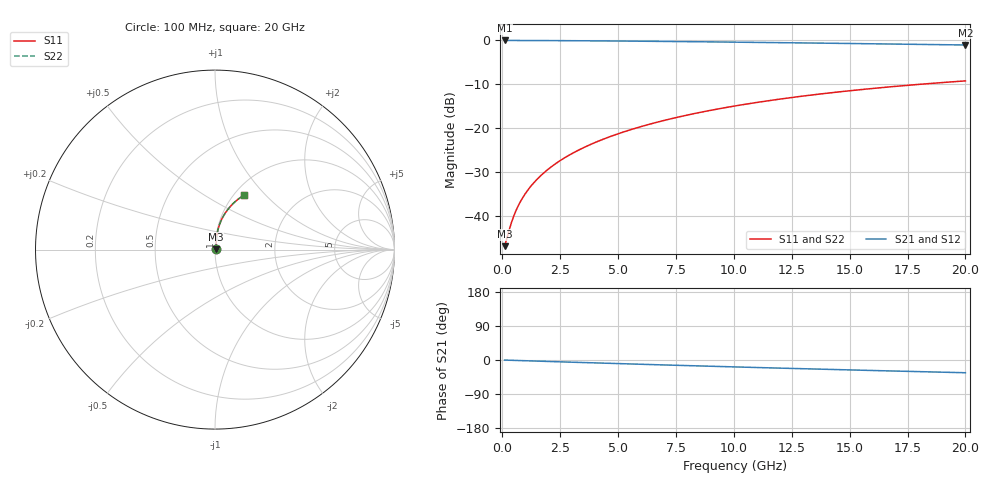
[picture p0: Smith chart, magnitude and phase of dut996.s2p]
! Touchstone file exported from HFSS 2024.1.0
!  File:  C:/UserFiles/LocalFiles/RDL_TSV_Batchsim/temp_RDL_bottom_996_1779944111.aedt
!  Generated:  12:57:44 PM May 28, 2026
!  Design:  RDL_bottom
!  Project:  temp_RDL_bottom_996_1779944111
!  Setup:  Setup1
!  Solution:  Sweep
! Variables:
!  dtsv = 10.80580581um
!  hbump = 3um
!  htsv = 88.23um
!  ldown = 432.62um
!  lrdl = 100um
!  p = 40
!  p1 = 49.39um
!  rhole = 1um
!  t = 450um
!  tdown = 2um
!  trdl = 3.915915916um
!  wdown = 20.43um
!  wrdl = 20um
# GHz S MA R 50.000000
! Terminal data exported
! Port[1] = RDL1_T1
! Port[2] = RDL1_T2
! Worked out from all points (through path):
!   200 points, 100 MHz to 20 GHz, reference 50 ohm
!   highest |S21| = -0.04 dB at 100 MHz (marker M1); lowest = -1.1 dB at 20 GHz (marker M2)
!   group delay of S21, straight-line fit = 4.65 ps
!   lowest |S11| = -47.0 dB at 100 MHz (marker M3), VSWR 1.01, Z = 50.4 + j0.184 ohm
!   |S11| at or under -10 dB: start of sweep to 18.12 GHz
!   |S22| runs from -47.0 to -9.3 dB; largest |S21 - S12| = 2.6e-15
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0.1  0.004483 24.0  0.9959 -0.2  0.9959 -0.2  0.004483 24.0
! Gamma 0 0 0 0
! Port Impedance 50 0 50 0
0.3  0.006893 51.7  0.9957 -0.6  0.9957 -0.6  0.006893 51.7
0.4  0.008399 58.5  0.9955 -0.8  0.9955 -0.8  0.008399 58.5
0.6  0.01154 66.2  0.9952 -1.2  0.9952 -1.2  0.01154 66.2
0.7  0.01313 68.6  0.995 -1.4  0.995 -1.4  0.01313 68.6
0.9  0.01631 72.1  0.9947 -1.8  0.9947 -1.8  0.01631 72.1
1.2  0.02111 75.5  0.9941 -2.4  0.9941 -2.4  0.02111 75.5
1.4  0.02433 77.0  0.9937 -2.7  0.9937 -2.7  0.02433 77.0
1.7  0.0292 78.7  0.9931 -3.3  0.9931 -3.3  0.0292 78.7
2.2  0.03744 80.5  0.9919 -4.3  0.9919 -4.3  0.03744 80.5
2.8  0.04749 81.8  0.9902 -5.4  0.9902 -5.4  0.04749 81.8
3.5  0.05945 82.5  0.9879 -6.7  0.9879 -6.7  0.05945 82.4
4.2  0.07163 82.7  0.9851 -8.0  0.9851 -8.0  0.07163 82.6
5  0.0858 82.5  0.9816 -9.5  0.9816 -9.5  0.0858 82.5
5.9  0.102 82.0  0.9772 -11.1  0.9772 -11.1  0.102 82.0
6.8  0.1184 81.2  0.9724 -12.7  0.9724 -12.7  0.1184 81.2
8.4  0.1479 79.3  0.9632 -15.5  0.9632 -15.5  0.1479 79.3
10.1  0.1792 77.0  0.9526 -18.4  0.9526 -18.4  0.1792 77.0
11.7  0.2083 74.6  0.9423 -21.0  0.9423 -21.0  0.2082 74.6
13.4  0.2384 72.0  0.9309 -23.7  0.9309 -23.7  0.2383 72.0
16.7  0.2938 66.8  0.9079 -28.8  0.9079 -28.8  0.2937 66.8
20  0.3444 61.8  0.8843 -33.6  0.8843 -33.6  0.3444 61.8
